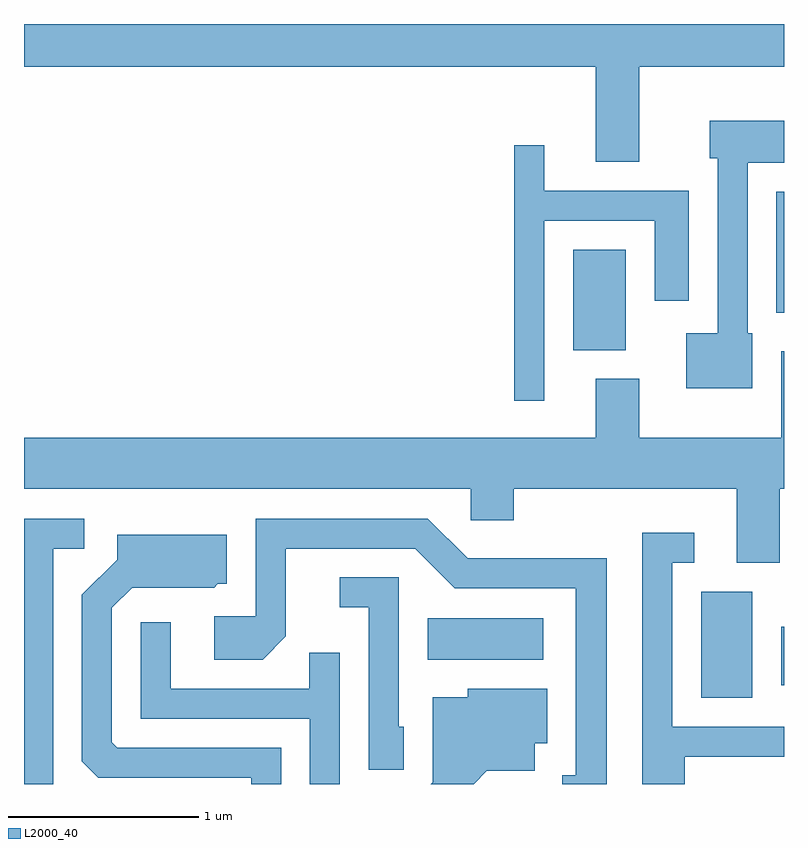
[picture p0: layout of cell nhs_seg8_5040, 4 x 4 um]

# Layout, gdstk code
import gdstk
lib = gdstk.Library(unit=1e-6, precision=1e-09)
def R(c, l, rs):  # rectangles x0, y0, x1, y1
    for r in rs: c.add(gdstk.rectangle(r[:2], r[2:], *l))
def P(c, l, *ps):  # polygons
    for p in ps: c.add(gdstk.Polygon(p, *l))
L2000_40 = (2000, 40)

nhs_seg8_5040 = lib.new_cell('nhs_seg8_5040')
R(nhs_seg8_5040, L2000_40, [(339.176,1910.796,339.444,1911.354), (339.596,1910.861,339.611,1911.169), (337.736,1910.996,338.344,1911.214), (338.501,1912.626,338.779,1913.154), (339.571,1912.821,339.611,1913.459)])
P(nhs_seg8_5040, L2000_40, [(338.849,1914.116),(339.611,1914.116),(339.611,1914.342),(335.611,1914.342),(335.611,1914.116),(338.621,1914.116),(338.621,1913.616),(338.849,1913.616)],
  [(339.444,1912.714),(339.419,1912.714),(339.419,1913.611),(339.611,1913.611),(339.611,1913.834),(339.221,1913.834),(339.221,1913.636),(339.261,1913.636),(339.261,1912.714),(339.096,1912.714),(339.096,1912.426),(339.444,1912.426)],
  [(338.349,1913.306),(338.931,1913.306),(338.931,1912.886),(339.109,1912.886),(339.109,1913.464),(338.349,1913.464),(338.349,1913.703),(338.191,1913.703),(338.191,1912.358),(338.349,1912.358)],
  [(339.589,1911.896),(339.611,1911.896),(339.611,1912.619),(339.596,1912.619),(339.596,1912.164),(338.849,1912.164),(338.849,1912.474),(338.621,1912.474),(338.621,1912.164),(335.611,1912.164),(335.611,1911.896),(337.961,1911.896),(337.961,1911.731),(338.189,1911.731),(338.189,1911.896),(339.361,1911.896),(339.361,1911.506),(339.589,1911.506)],
  [(335.764,1911.581),(335.928,1911.581),(335.928,1911.739),(335.611,1911.739),(335.611,1910.342),(335.764,1910.342)],
  [(338.679,1911.529),(337.947,1911.529),(337.737,1911.739),(336.831,1911.739),(336.831,1911.224),(336.611,1911.224),(336.611,1910.996),(336.867,1910.996),(336.989,1911.119),(336.989,1911.581),(337.669,1911.581),(337.879,1911.371),(338.516,1911.371),(338.516,1910.389),(338.443,1910.389),(338.443,1910.342),(338.679,1910.342)],
  [(339.089,1910.486),(339.611,1910.486),(339.611,1910.644),(339.024,1910.644),(339.024,1911.506),(339.138,1911.506),(339.138,1911.664),(338.866,1911.664),(338.866,1910.342),(339.089,1910.342)],
  [(336.964,1910.534),(336.102,1910.534),(336.074,1910.562),(336.074,1911.269),(336.182,1911.376),(336.612,1911.376),(336.632,1911.396),(336.679,1911.396),(336.679,1911.654),(336.101,1911.654),(336.101,1911.522),(335.916,1911.337),(335.916,1910.462),(336.002,1910.376),(336.806,1910.376),(336.806,1910.342),(336.964,1910.342)],
  [(337.609,1910.644),(337.584,1910.644),(337.584,1911.429),(337.273,1911.429),(337.273,1911.271),(337.426,1911.271),(337.426,1910.416),(337.609,1910.416)],
  [(337.274,1911.033),(337.111,1911.033),(337.111,1910.844),(336.384,1910.844),(336.384,1911.193),(336.226,1911.193),(336.226,1910.686),(337.116,1910.686),(337.116,1910.342),(337.274,1910.342)],
  [(338.047,1910.411),(338.299,1910.411),(338.299,1910.556),(338.364,1910.556),(338.364,1910.844),(337.946,1910.844),(337.946,1910.799),(337.761,1910.799),(337.761,1910.352),(337.751,1910.342),(337.978,1910.342)])

lib.write_gds('nhs_seg8_5040.gds')
